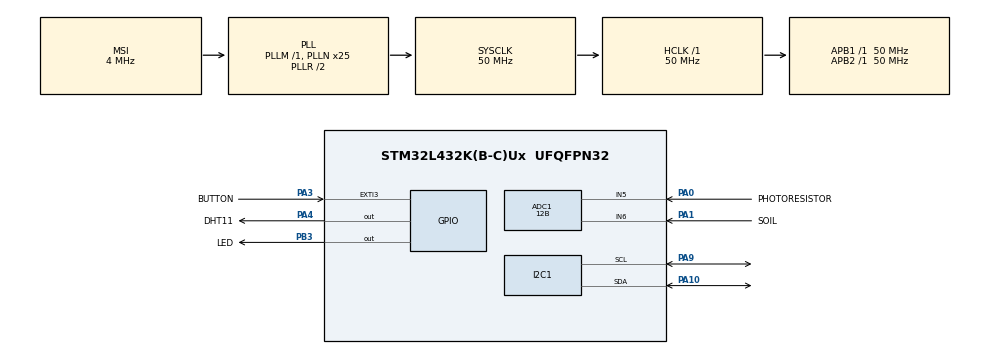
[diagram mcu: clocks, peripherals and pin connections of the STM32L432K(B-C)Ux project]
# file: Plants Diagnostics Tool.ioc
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ADC1.Channel-5\#ChannelRegularConversion=ADC_CHANNEL_5
ADC1.ContinuousConvMode=DISABLE
ADC1.NbrOfConversion=1
ADC1.NbrOfConversionFlag=1
ADC1.OffsetNumber-5\#ChannelRegularConversion=ADC_OFFSET_NONE
ADC1.Rank-5\#ChannelRegularConversion=1
ADC1.Resolution=ADC_RESOLUTION_12B
ADC1.SamplingTime-5\#ChannelRegularConversion=ADC_SAMPLETIME_24CYCLES_5
ADC1.master=1
I2C1.Timing=0x00C0EAFF
Mcu.Family=STM32L4
Mcu.Name=STM32L432K(B-C)Ux
Mcu.Package=UFQFPN32
NVIC.EXTI3_IRQn=true\:0\:0\:false\:false\:true\:true\:true\:true
NVIC.PriorityGroup=NVIC_PRIORITYGROUP_4
PA0.GPIO_Label=PHOTORESISTOR
PA0.Signal=ADCx_IN5
PA1.GPIO_Label=SOIL
PA1.Signal=ADCx_IN6
PA10.GPIO_Pu=GPIO_PULLUP
PA10.Mode=I2C
PA10.Signal=I2C1_SDA
PA13\ (JTMS-SWDIO).Mode=Serial_Wire
PA13\ (JTMS-SWDIO).Signal=SYS_JTMS-SWDIO
PA14\ (JTCK-SWCLK).Mode=Serial_Wire
PA14\ (JTCK-SWCLK).Signal=SYS_JTCK-SWCLK
PA3.GPIO_Label=BUTTON
PA3.GPIO_PuPd=GPIO_PULLDOWN
PA3.Signal=GPXTI3
PA4.GPIO_Label=DHT11
PA4.Signal=GPIO_Output
PA9.GPIO_Pu=GPIO_PULLUP
PA9.Mode=I2C
PA9.Signal=I2C1_SCL
PB3\ (JTDO-TRACESWO).GPIO_Label=LED
PB3\ (JTDO-TRACESWO).Signal=GPIO_Output
ProjectManager.HeapSize=0x200
ProjectManager.StackSize=0x400
ProjectManager.TargetToolchain=STM32CubeIDE
RCC.ADCCLockSelection=RCC_ADCCLKSOURCE_SYSCLK
RCC.ADCFreq_Value=50000000
RCC.AHBFreq_Value=50000000
RCC.APB1Freq_Value=50000000
RCC.APB1TimFreq_Value=50000000
RCC.APB2Freq_Value=50000000
RCC.APB2TimFreq_Value=50000000
RCC.CortexFreq_Value=50000000
RCC.HCLKFreq_Value=50000000
RCC.HSE_VALUE=8000000
RCC.HSI16_VALUE=16000000
RCC.HSI48_VALUE=48000000
RCC.HSI_VALUE=16000000
RCC.LSE_VALUE=32768
RCC.MSI_VALUE=4000000
RCC.PLLMUL=RCC_PLLMUL_4
RCC.PLLN=25
RCC.PLLSAI1N=16
RCC.SYSCLKFreq_VALUE=50000000
RCC.SYSCLKSource=RCC_SYSCLKSOURCE_PLLCLK
RCC.USBFreq_Value=32000000
RCC.VCOOutputFreq_Value=100000000
SH.ADCx_IN5.0=ADC1_IN5,IN5-Single-Ended
SH.ADCx_IN6.0=ADC1_IN6,IN6-Single-Ended
TIM6.Period=65534
TIM6.Prescaler=49
VP_TIM6_VS_ClockSourceINT.Mode=Enable_Timer
board=NUCLEO-L432KC

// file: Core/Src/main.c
/* USER CODE BEGIN Header */
/**
 ******************************************************************************
 * @file           : main.c
 * @brief          : Main program body
 ******************************************************************************
 * @attention
 *
 * Copyright (c) 2022 STMicroelectronics.
 * All rights reserved.
 *
 * This software is licensed under terms that can be found in the LICENSE file
 * in the root directory of this software component.
 * If no LICENSE file comes with this software, it is provided AS-IS.
 *
 ******************************************************************************
 */
/* USER CODE END Header */
#include "main.h"

/* USER CODE BEGIN Includes */
#include "lcd16x2_i2c.h"
#include <stdio.h>
/* USER CODE END Includes */

ADC_HandleTypeDef hadc1;

I2C_HandleTypeDef hi2c1;

TIM_HandleTypeDef htim6;

/* USER CODE BEGIN PV */

ADC_ChannelConfTypeDef sConfig = { 0 };

/* Soil Sensor */
uint32_t soilRead;
uint8_t soilPercent;

/* Photoresistor */
uint32_t lightRead;
uint8_t lightPercent;

/* DHT11 */
uint8_t Rh_byte1, Rh_byte2, Temp_byte1, Temp_byte2, precence = 0;
uint16_t sum, RH, temp;
float temperature = 0, humidity = 0;

/* button stuff */
uint8_t buttonSem = 1;
uint8_t buttonState = 0;
uint32_t tNow = 0;
uint32_t tPrevius = 0;
uint8_t buttonDelay = 200;

/* USER CODE END PV */

void SystemClock_Config(void);
static void MX_GPIO_Init(void);
static void MX_ADC1_Init(void);
static void MX_I2C1_Init(void);
static void MX_TIM6_Init(void);
/* USER CODE BEGIN PFP */
void readAdc0(void);
void readAdc1(void);
void buttonStateFunc(void);
void delay(uint16_t time);
void setPinInput(GPIO_TypeDef *GPIOx, uint16_t gpio_pin);
void setPinOutput(GPIO_TypeDef *GPIOx, uint16_t gpio_pin);
void DHTstart(void);
uint8_t DHT11_Read(void);
uint8_t Check_Response(void);
/* USER CODE END PFP */

int main(void)
{

  /* MCU Configuration--------------------------------------------------------*/

  /* Reset of all peripherals, Initializes the Flash interface and the Systick. */
  HAL_Init();

  /* Configure the system clock */
  SystemClock_Config();

  /* Initialize all configured peripherals */
  MX_GPIO_Init();
  MX_ADC1_Init();
  MX_I2C1_Init();
  MX_TIM6_Init();
  /* USER CODE BEGIN 2 */
	HAL_Delay(1000);
	HAL_TIM_Base_Start(&htim6);
	if (lcd16x2_i2c_init(&hi2c1)) {
		HAL_GPIO_WritePin(LED_GPIO_Port, LED_Pin, GPIO_PIN_SET);
		lcd16x2_i2c_clear();
		lcd16x2_i2c_1stLine();
		lcd16x2_i2c_printf("  Hello Maya!");
		lcd16x2_i2c_2ndLine();
		HAL_Delay(1000);
		lcd16x2_i2c_printf(" Nice plants :)");
		HAL_Delay(2000);
		lcd16x2_i2c_clear();
		HAL_GPIO_WritePin(LED_GPIO_Port, LED_Pin, GPIO_PIN_RESET);
	}
  /* USER CODE END 2 */

  /* Infinite loop */
  /* USER CODE BEGIN WHILE */
	while (1) {
		if (buttonState == 0)
		{
			readAdc0();
			lcd16x2_i2c_1stLine();
			lcd16x2_i2c_printf(" Mode 1 - Light  ");
			lcd16x2_i2c_2ndLine();
			lcd16x2_i2c_printf("Light Read: %3d%c ", lightPercent, 37);
		}
		else if (buttonState == 1)
		{
			readAdc1();
			lcd16x2_i2c_1stLine();
			lcd16x2_i2c_printf(" Mode 2 - Soil  ");
			lcd16x2_i2c_2ndLine();
			lcd16x2_i2c_printf("Soil Read: %3d%c  ", soilPercent, 37);
		}
		else if (buttonState == 2)
		{
			DHTstart();
			precence = Check_Response();
			// read 40 bits || 5 bytes
			Rh_byte1 = DHT11_Read();
			Rh_byte2 = DHT11_Read();
			Temp_byte1 = DHT11_Read();
			Temp_byte2 = DHT11_Read();
			sum = DHT11_Read();

			temp = Temp_byte1;
			RH = Rh_byte1;

			humidity = (float)RH;
			lcd16x2_i2c_1stLine();
			lcd16x2_i2c_printf(" Mode 3 - Humid");
			lcd16x2_i2c_2ndLine();
			lcd16x2_i2c_printf("Humidity: %.2f ", humidity);
		}
		else if (buttonState == 3)
		{
			DHTstart();
			precence = Check_Response();
			// read 40 bits || 5 bytes
			Rh_byte1 = DHT11_Read();
			Rh_byte2 = DHT11_Read();
			Temp_byte1 = DHT11_Read();
			Temp_byte2 = DHT11_Read();
			sum = DHT11_Read();

			temp = Temp_byte1;
			RH = Rh_byte1;

			temperature = (float)temp;
			lcd16x2_i2c_1stLine();
			lcd16x2_i2c_printf(" Mode 4 - Temp");
			lcd16x2_i2c_2ndLine();
			lcd16x2_i2c_printf("Temp Read: %.2f", temperature);
		}
		else
		{
			lcd16x2_i2c_1stLine();
			lcd16x2_i2c_printf("Push Mode Button");
			lcd16x2_i2c_2ndLine();
			lcd16x2_i2c_printf("    *****");
		}
		HAL_Delay(100);

    /* USER CODE END WHILE */

	}
}

void SystemClock_Config(void)
{
  RCC_OscInitTypeDef RCC_OscInitStruct = {0};
  RCC_ClkInitTypeDef RCC_ClkInitStruct = {0};

  /** Configure the main internal regulator output voltage
  */
  if (HAL_PWREx_ControlVoltageScaling(PWR_REGULATOR_VOLTAGE_SCALE1) != HAL_OK)
  {
    Error_Handler();
  }

  /** Initializes the RCC Oscillators according to the specified parameters
  * in the RCC_OscInitTypeDef structure.
  */
  RCC_OscInitStruct.OscillatorType = RCC_OSCILLATORTYPE_MSI;
  RCC_OscInitStruct.MSIState = RCC_MSI_ON;
  RCC_OscInitStruct.MSICalibrationValue = 0;
  RCC_OscInitStruct.MSIClockRange = RCC_MSIRANGE_6;
  RCC_OscInitStruct.PLL.PLLState = RCC_PLL_ON;
  RCC_OscInitStruct.PLL.PLLSource = RCC_PLLSOURCE_MSI;
  RCC_OscInitStruct.PLL.PLLM = 1;
  RCC_OscInitStruct.PLL.PLLN = 25;
  RCC_OscInitStruct.PLL.PLLP = RCC_PLLP_DIV7;
  RCC_OscInitStruct.PLL.PLLQ = RCC_PLLQ_DIV2;
  RCC_OscInitStruct.PLL.PLLR = RCC_PLLR_DIV2;
  if (HAL_RCC_OscConfig(&RCC_OscInitStruct) != HAL_OK)
  {
    Error_Handler();
  }

  /** Initializes the CPU, AHB and APB buses clocks
  */
  RCC_ClkInitStruct.ClockType = RCC_CLOCKTYPE_HCLK|RCC_CLOCKTYPE_SYSCLK
                              |RCC_CLOCKTYPE_PCLK1|RCC_CLOCKTYPE_PCLK2;
  RCC_ClkInitStruct.SYSCLKSource = RCC_SYSCLKSOURCE_PLLCLK;
  RCC_ClkInitStruct.AHBCLKDivider = RCC_SYSCLK_DIV1;
  RCC_ClkInitStruct.APB1CLKDivider = RCC_HCLK_DIV1;
  RCC_ClkInitStruct.APB2CLKDivider = RCC_HCLK_DIV1;

  if (HAL_RCC_ClockConfig(&RCC_ClkInitStruct, FLASH_LATENCY_3) != HAL_OK)
  {
    Error_Handler();
  }
}

static void MX_ADC1_Init(void)
{

//  ADC_ChannelConfTypeDef sConfig = {0};

  /** Common config
  */
  hadc1.Instance = ADC1;
  hadc1.Init.ClockPrescaler = ADC_CLOCK_ASYNC_DIV1;
  hadc1.Init.Resolution = ADC_RESOLUTION_12B;
  hadc1.Init.DataAlign = ADC_DATAALIGN_RIGHT;
  hadc1.Init.ScanConvMode = ADC_SCAN_DISABLE;
  hadc1.Init.EOCSelection = ADC_EOC_SINGLE_CONV;
  hadc1.Init.LowPowerAutoWait = DISABLE;
  hadc1.Init.ContinuousConvMode = DISABLE;
  hadc1.Init.NbrOfConversion = 1;
  hadc1.Init.DiscontinuousConvMode = DISABLE;
  hadc1.Init.ExternalTrigConv = ADC_SOFTWARE_START;
  hadc1.Init.ExternalTrigConvEdge = ADC_EXTERNALTRIGCONVEDGE_NONE;
  hadc1.Init.DMAContinuousRequests = DISABLE;
  hadc1.Init.Overrun = ADC_OVR_DATA_PRESERVED;
  hadc1.Init.OversamplingMode = DISABLE;
  if (HAL_ADC_Init(&hadc1) != HAL_OK)
  {
    Error_Handler();
  }

  /** Configure Regular Channel
  */
  sConfig.Channel = ADC_CHANNEL_5;
  sConfig.Rank = ADC_REGULAR_RANK_1;
  sConfig.SamplingTime = ADC_SAMPLETIME_24CYCLES_5;
  sConfig.SingleDiff = ADC_SINGLE_ENDED;
  sConfig.OffsetNumber = ADC_OFFSET_NONE;
  sConfig.Offset = 0;
  if (HAL_ADC_ConfigChannel(&hadc1, &sConfig) != HAL_OK)
  {
    Error_Handler();
  }

}

static void MX_I2C1_Init(void)
{

  hi2c1.Instance = I2C1;
  hi2c1.Init.Timing = 0x00C0EAFF;
  hi2c1.Init.OwnAddress1 = 0;
  hi2c1.Init.AddressingMode = I2C_ADDRESSINGMODE_7BIT;
  hi2c1.Init.DualAddressMode = I2C_DUALADDRESS_DISABLE;
  hi2c1.Init.OwnAddress2 = 0;
  hi2c1.Init.OwnAddress2Masks = I2C_OA2_NOMASK;
  hi2c1.Init.GeneralCallMode = I2C_GENERALCALL_DISABLE;
  hi2c1.Init.NoStretchMode = I2C_NOSTRETCH_DISABLE;
  if (HAL_I2C_Init(&hi2c1) != HAL_OK)
  {
    Error_Handler();
  }

  /** Configure Analogue filter
  */
  if (HAL_I2CEx_ConfigAnalogFilter(&hi2c1, I2C_ANALOGFILTER_ENABLE) != HAL_OK)
  {
    Error_Handler();
  }

  /** Configure Digital filter
  */
  if (HAL_I2CEx_ConfigDigitalFilter(&hi2c1, 0) != HAL_OK)
  {
    Error_Handler();
  }

}

static void MX_TIM6_Init(void)
{

  TIM_MasterConfigTypeDef sMasterConfig = {0};

  htim6.Instance = TIM6;
  htim6.Init.Prescaler = 49;
  htim6.Init.CounterMode = TIM_COUNTERMODE_UP;
  htim6.Init.Period = 65534;
  htim6.Init.AutoReloadPreload = TIM_AUTORELOAD_PRELOAD_DISABLE;
  if (HAL_TIM_Base_Init(&htim6) != HAL_OK)
  {
    Error_Handler();
  }
  sMasterConfig.MasterOutputTrigger = TIM_TRGO_RESET;
  sMasterConfig.MasterSlaveMode = TIM_MASTERSLAVEMODE_DISABLE;
  if (HAL_TIMEx_MasterConfigSynchronization(&htim6, &sMasterConfig) != HAL_OK)
  {
    Error_Handler();
  }

}

static void MX_GPIO_Init(void)
{
  GPIO_InitTypeDef GPIO_InitStruct = {0};

  /* GPIO Ports Clock Enable */
  __HAL_RCC_GPIOA_CLK_ENABLE();
  __HAL_RCC_GPIOB_CLK_ENABLE();

  /*Configure GPIO pin Output Level */
  HAL_GPIO_WritePin(DHT11_GPIO_Port, DHT11_Pin, GPIO_PIN_RESET);

  /*Configure GPIO pin Output Level */
  HAL_GPIO_WritePin(LED_GPIO_Port, LED_Pin, GPIO_PIN_RESET);

  /*Configure GPIO pin : BUTTON_Pin */
  GPIO_InitStruct.Pin = BUTTON_Pin;
  GPIO_InitStruct.Mode = GPIO_MODE_IT_RISING;
  GPIO_InitStruct.Pull = GPIO_PULLDOWN;
  HAL_GPIO_Init(BUTTON_GPIO_Port, &GPIO_InitStruct);

  /*Configure GPIO pin : DHT11_Pin */
  GPIO_InitStruct.Pin = DHT11_Pin;
  GPIO_InitStruct.Mode = GPIO_MODE_OUTPUT_PP;
  GPIO_InitStruct.Pull = GPIO_NOPULL;
  GPIO_InitStruct.Speed = GPIO_SPEED_FREQ_LOW;
  HAL_GPIO_Init(DHT11_GPIO_Port, &GPIO_InitStruct);

  /*Configure GPIO pin : LED_Pin */
  GPIO_InitStruct.Pin = LED_Pin;
  GPIO_InitStruct.Mode = GPIO_MODE_OUTPUT_PP;
  GPIO_InitStruct.Pull = GPIO_NOPULL;
  GPIO_InitStruct.Speed = GPIO_SPEED_FREQ_LOW;
  HAL_GPIO_Init(LED_GPIO_Port, &GPIO_InitStruct);

  /* EXTI interrupt init*/
  HAL_NVIC_SetPriority(EXTI3_IRQn, 0, 0);
  HAL_NVIC_EnableIRQ(EXTI3_IRQn);

}

/* USER CODE BEGIN 4 */

/* Read PA0 */
void readAdc0(void) {
	sConfig.Channel = ADC_CHANNEL_5;
	if (HAL_ADC_ConfigChannel(&hadc1, &sConfig) != HAL_OK) {
		Error_Handler();
	}

	HAL_ADC_Start(&hadc1);
	HAL_ADC_PollForConversion(&hadc1, 5);
	lightRead = HAL_ADC_GetValue(&hadc1);
	HAL_ADC_Stop(&hadc1);
	lightPercent = (lightRead * 100) / 4095;
	if (lightPercent >= 80) {
		HAL_GPIO_WritePin(LED_GPIO_Port, LED_Pin, GPIO_PIN_SET);
	} else if (lightPercent >= 65) {
		HAL_GPIO_TogglePin(LED_GPIO_Port, LED_Pin);
	} else {
		HAL_GPIO_WritePin(LED_GPIO_Port, LED_Pin, GPIO_PIN_RESET);
	}
	HAL_Delay(20);
}

/* Read PA1 */
void readAdc1(void) {
	sConfig.Channel = ADC_CHANNEL_6;
	if (HAL_ADC_ConfigChannel(&hadc1, &sConfig) != HAL_OK) {
		Error_Handler();
	}

	HAL_ADC_Start(&hadc1);
	HAL_ADC_PollForConversion(&hadc1, 5);
	soilRead = HAL_ADC_GetValue(&hadc1);
	HAL_ADC_Stop(&hadc1);
	soilPercent = (soilRead * 100) / 4095;
	HAL_Delay(20);
}

/* DHT11 FUNCTIONS */
void delay(uint16_t time) // set delay in **ms**
{
	__HAL_TIM_SET_COUNTER(&htim6,0); // set timer to 0
	while(__HAL_TIM_GET_COUNTER(&htim6)>time); // count from 0 to time
}

void setPinInput(GPIO_TypeDef *GPIOx, uint16_t gpio_pin)
{
	GPIO_InitTypeDef GPIO_InitStruct = {0};
	GPIO_InitStruct.Pin = DHT11_Pin;
	GPIO_InitStruct.Mode = GPIO_MODE_INPUT;
	GPIO_InitStruct.Pull = GPIO_PULLUP;
	HAL_GPIO_Init(GPIOx, &GPIO_InitStruct);
}

void setPinOutput(GPIO_TypeDef *GPIOx, uint16_t gpio_pin)
{
	GPIO_InitTypeDef GPIO_InitStruct = {0};
	GPIO_InitStruct.Pin = gpio_pin;
	GPIO_InitStruct.Mode = GPIO_MODE_OUTPUT_PP;
	GPIO_InitStruct.Speed = GPIO_SPEED_FREQ_LOW;
	HAL_GPIO_Init(GPIOx, &GPIO_InitStruct);
}

void DHTstart(void)
{
	setPinOutput(DHT11_GPIO_Port, DHT11_Pin);
	HAL_GPIO_WritePin(DHT11_GPIO_Port, DHT11_Pin, 0); //set pin to 0
	delay(18000); //delay 18 **ms**
	HAL_GPIO_WritePin(DHT11_GPIO_Port, DHT11_Pin, 1); //set pin to 1
	delay(20); // delay 20 **us**
	setPinInput(DHT11_GPIO_Port, DHT11_Pin);
}

uint8_t Check_Response(void)
{
	uint8_t Response = 0;
	delay(40);
	if(!(HAL_GPIO_ReadPin(DHT11_GPIO_Port, DHT11_Pin)))
	{
		delay(80);
		if((HAL_GPIO_ReadPin(DHT11_GPIO_Port, DHT11_Pin)))
		{
			Response = 1;
		}
		else
		{
			Response = -1;
		}
	}
	while((HAL_GPIO_ReadPin(DHT11_GPIO_Port, DHT11_Pin)));   // wait for the pin to go low

	return Response;
}

uint8_t DHT11_Read(void)
{
	uint8_t i;
	for(uint8_t j = 0; j < 8; j++)
	{
		while (!(HAL_GPIO_ReadPin(DHT11_GPIO_Port, DHT11_Pin)));   // wait for the pin to go high
		delay (40);   // wait for 40 us
		if (!(HAL_GPIO_ReadPin(DHT11_GPIO_Port, DHT11_Pin)))   // if the pin is low
		{
			i &= ~(1 << (7-j));   // write 0
		}
		else
		{
			i |= (1 << (7-j));  // if the pin is high, write 1
		}
		while ((HAL_GPIO_ReadPin(DHT11_GPIO_Port, DHT11_Pin)));  // wait for the pin to go low
	}
	return i;
}

/* check button press */
void buttonStateFunc(void) {
	tNow = HAL_GetTick();

	if (buttonSem == 1 && (tNow - tPrevius > buttonDelay)) {
		buttonSem = 0;
		buttonState++;
		if (buttonState % 4 == 0) {
			buttonState = 0;
		}
		buttonSem = 1;
		tPrevius = tNow;
	}
}

/* handle the interrupt */

void HAL_GPIO_EXTI_Callback(uint16_t GPIO_Pin) {
	if (GPIO_Pin == BUTTON_Pin) {
		buttonStateFunc();
	}
}

/* USER CODE END 4 */

void Error_Handler(void)
{
	__disable_irq();
	while (1) {
	}
}
